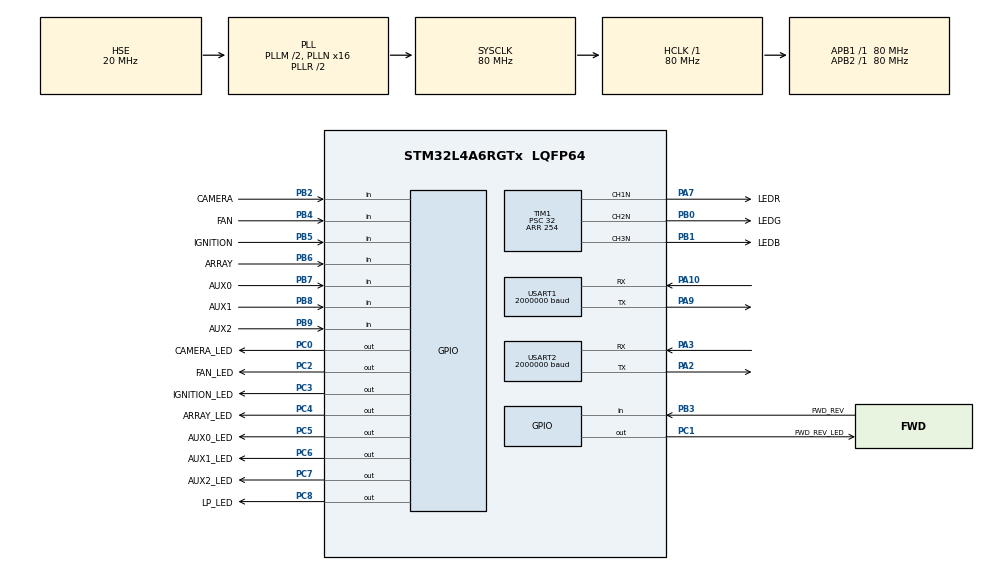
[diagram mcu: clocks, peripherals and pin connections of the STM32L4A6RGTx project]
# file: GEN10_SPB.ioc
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CRC.InputDataInversionMode=CRC_INPUTDATA_INVERSION_BYTE
CRC.OutputDataInversionMode=CRC_OUTPUTDATA_INVERSION_ENABLE
FREERTOS.INCLUDE_eTaskGetState=1
FREERTOS.INCLUDE_pcTaskGetTaskName=1
FREERTOS.INCLUDE_vTaskDelayUntil=1
FREERTOS.INCLUDE_xQueueGetMutexHolder=1
FREERTOS.INCLUDE_xSemaphoreGetMutexHolder=1
FREERTOS.INCLUDE_xTaskAbortDelay=1
FREERTOS.INCLUDE_xTaskGetCurrentTaskHandle=1
FREERTOS.INCLUDE_xTaskGetHandle=1
FREERTOS.Tasks01=defaultTask,0,512,StartDefaultTask,Default,NULL,Dynamic,NULL,NULL
FREERTOS.configGENERATE_RUN_TIME_STATS=1
FREERTOS.configMINIMAL_STACK_SIZE=512
FREERTOS.configQUEUE_REGISTRY_SIZE=32
FREERTOS.configRECORD_STACK_HIGH_ADDRESS=1
FREERTOS.configTIMER_QUEUE_LENGTH=32
FREERTOS.configTIMER_TASK_PRIORITY=5
FREERTOS.configTIMER_TASK_STACK_DEPTH=2048
FREERTOS.configTOTAL_HEAP_SIZE=131072
FREERTOS.configUSE_IDLE_HOOK=1
FREERTOS.configUSE_STATS_FORMATTING_FUNCTIONS=1
FREERTOS.configUSE_TIMERS=1
FREERTOS.configUSE_TRACE_FACILITY=1
Mcu.Family=STM32L4
Mcu.Name=STM32L4A6RGTx
Mcu.Package=LQFP64
NVIC.PriorityGroup=NVIC_PRIORITYGROUP_4
NVIC.TIM6_DAC_IRQn=true\:0\:0\:false\:false\:true\:false\:false\:true
NVIC.TimeBase=TIM6_DAC_IRQn
NVIC.TimeBaseIP=TIM6
NVIC.USART1_IRQn=true\:5\:0\:false\:false\:true\:true\:true\:true
NVIC.USART2_IRQn=true\:5\:0\:false\:false\:true\:true\:true\:true
PA10.Mode=Asynchronous
PA10.Signal=USART1_RX
PA13\ (JTMS/SWDIO).Mode=Serial_Wire
PA13\ (JTMS/SWDIO).Signal=SYS_JTMS-SWDIO
PA14\ (JTCK/SWCLK).Mode=Serial_Wire
PA14\ (JTCK/SWCLK).Signal=SYS_JTCK-SWCLK
PA2.Mode=Asynchronous
PA2.Signal=USART2_TX
PA3.Mode=Asynchronous
PA3.Signal=USART2_RX
PA7.GPIO_Label=LEDR
PA7.GPIO_Speed=GPIO_SPEED_FREQ_VERY_HIGH
PA7.Mode=PWM Generation1 CH1N
PA7.Signal=TIM1_CH1N
PA9.Mode=Asynchronous
PA9.Signal=USART1_TX
PB0.GPIO_Label=LEDG
PB0.GPIO_Speed=GPIO_SPEED_FREQ_VERY_HIGH
PB0.Mode=PWM Generation2 CH2N
PB0.Signal=TIM1_CH2N
PB1.GPIO_Label=LEDB
PB1.GPIO_Speed=GPIO_SPEED_FREQ_VERY_HIGH
PB1.Mode=PWM Generation3 CH3N
PB1.Signal=TIM1_CH3N
PB2.GPIO_Label=CAMERA
PB2.GPIO_PuPd=GPIO_PULLUP
PB2.Signal=GPIO_Input
PB3\ (JTDO/TRACESWO).GPIO_Label=FWD_REV
PB3\ (JTDO/TRACESWO).GPIO_PuPd=GPIO_PULLUP
PB3\ (JTDO/TRACESWO).Signal=GPIO_Input
PB4\ (NJTRST).GPIO_Label=FAN
PB4\ (NJTRST).GPIO_PuPd=GPIO_PULLUP
PB4\ (NJTRST).Signal=GPIO_Input
PB5.GPIO_Label=IGNITION
PB5.GPIO_PuPd=GPIO_PULLUP
PB5.Signal=GPIO_Input
PB6.GPIO_Label=ARRAY
PB6.GPIO_PuPd=GPIO_PULLUP
PB6.Signal=GPIO_Input
PB7.GPIO_Label=AUX0
PB7.GPIO_PuPd=GPIO_PULLUP
PB7.Signal=GPIO_Input
PB8.GPIO_Label=AUX1
PB8.GPIO_PuPd=GPIO_PULLUP
PB8.Signal=GPIO_Input
PB9.GPIO_Label=AUX2
PB9.GPIO_PuPd=GPIO_PULLUP
PB9.Signal=GPIO_Input
PC0.GPIO_Label=CAMERA_LED
PC0.GPIO_Speed=GPIO_SPEED_FREQ_VERY_HIGH
PC0.PinState=GPIO_PIN_SET
PC0.Signal=GPIO_Output
PC1.GPIO_Label=FWD_REV_LED
PC1.GPIO_Speed=GPIO_SPEED_FREQ_VERY_HIGH
PC1.PinState=GPIO_PIN_SET
PC1.Signal=GPIO_Output
PC2.GPIO_Label=FAN_LED
PC2.GPIO_Speed=GPIO_SPEED_FREQ_VERY_HIGH
PC2.PinState=GPIO_PIN_SET
PC2.Signal=GPIO_Output
PC3.GPIO_Label=IGNITION_LED
PC3.GPIO_Speed=GPIO_SPEED_FREQ_VERY_HIGH
PC3.PinState=GPIO_PIN_SET
PC3.Signal=GPIO_Output
PC4.GPIO_Label=ARRAY_LED
PC4.GPIO_Speed=GPIO_SPEED_FREQ_VERY_HIGH
PC4.PinState=GPIO_PIN_SET
PC4.Signal=GPIO_Output
PC5.GPIO_Label=AUX0_LED
PC5.GPIO_Speed=GPIO_SPEED_FREQ_VERY_HIGH
PC5.PinState=GPIO_PIN_SET
PC5.Signal=GPIO_Output
PC6.GPIO_Label=AUX1_LED
PC6.GPIO_Speed=GPIO_SPEED_FREQ_VERY_HIGH
PC6.PinState=GPIO_PIN_SET
PC6.Signal=GPIO_Output
PC7.GPIO_Label=AUX2_LED
PC7.GPIO_Speed=GPIO_SPEED_FREQ_VERY_HIGH
PC7.PinState=GPIO_PIN_SET
PC7.Signal=GPIO_Output
PC8.GPIO_Label=LP_LED
PC8.GPIO_Speed=GPIO_SPEED_FREQ_VERY_HIGH
PC8.PinState=GPIO_PIN_SET
PC8.Signal=GPIO_Output
PH0-OSC_IN\ (PH0).Mode=HSE-External-Oscillator
PH0-OSC_IN\ (PH0).Signal=RCC_OSC_IN
PH1-OSC_OUT\ (PH1).Mode=HSE-External-Oscillator
PH1-OSC_OUT\ (PH1).Signal=RCC_OSC_OUT
ProjectManager.HeapSize=0x200
ProjectManager.StackSize=0x400
ProjectManager.TargetToolchain=STM32CubeIDE
RCC.ADCFreq_Value=40000000
RCC.AHBFreq_Value=80000000
RCC.APB1Freq_Value=80000000
RCC.APB1TimFreq_Value=80000000
RCC.APB2Freq_Value=80000000
RCC.APB2TimFreq_Value=80000000
RCC.CortexFreq_Value=80000000
RCC.HCLKFreq_Value=80000000
RCC.HSE_VALUE=20000000
RCC.HSI48_VALUE=48000000
RCC.HSI_VALUE=16000000
RCC.LSE_VALUE=32768
RCC.MSI_VALUE=4000000
RCC.PLLM=2
RCC.PLLN=16
RCC.PLLSourceVirtual=RCC_PLLSOURCE_HSE
RCC.SYSCLKFreq_VALUE=80000000
RCC.SYSCLKSource=RCC_SYSCLKSOURCE_PLLCLK
RCC.USBFreq_Value=40000000
RCC.VCOOutputFreq_Value=160000000
TIM1.AutoReloadPreload=TIM_AUTORELOAD_PRELOAD_ENABLE
TIM1.Channel-PWM\ Generation1\ CH1N=TIM_CHANNEL_1
TIM1.Channel-PWM\ Generation2\ CH2N=TIM_CHANNEL_2
TIM1.Channel-PWM\ Generation3\ CH3N=TIM_CHANNEL_3
TIM1.OCFastMode_PWM-PWM\ Generation1\ CH1N=TIM_OCFAST_ENABLE
TIM1.OCFastMode_PWM-PWM\ Generation2\ CH2N=TIM_OCFAST_ENABLE
TIM1.OCFastMode_PWM-PWM\ Generation3\ CH3N=TIM_OCFAST_ENABLE
TIM1.OCNIdleState_1=TIM_OCNIDLESTATE_SET
TIM1.OCNIdleState_2=TIM_OCNIDLESTATE_SET
TIM1.OCNIdleState_3=TIM_OCNIDLESTATE_SET
TIM1.OCNPolarity_1=TIM_OCNPOLARITY_LOW
TIM1.OCNPolarity_2=TIM_OCNPOLARITY_LOW
TIM1.OCNPolarity_3=TIM_OCNPOLARITY_LOW
TIM1.Period=254
TIM1.Prescaler=32
TIM1.Pulse-PWM\ Generation1\ CH1N=255
TIM1.Pulse-PWM\ Generation2\ CH2N=0xff
TIM1.Pulse-PWM\ Generation3\ CH3N=0x33
USART1.BaudRate=2000000
USART1.OverSampling=UART_OVERSAMPLING_16
USART1.VirtualMode-Asynchronous=VM_ASYNC
USART2.BaudRate=2000000
USART2.VirtualMode-Asynchronous=VM_ASYNC
VP_CRC_VS_CRC.Mode=CRC_Activate
VP_FREERTOS_VS_CMSIS_V1.Mode=CMSIS_V1
VP_SYS_VS_tim6.Mode=TIM6
board=custom

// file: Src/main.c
/* USER CODE BEGIN Header */
/**
  ******************************************************************************
  * @file           : main.c
  * @brief          : Main program body
  ******************************************************************************
  * @attention
  *
  * <h2><center>&copy; Copyright (c) 2019 STMicroelectronics.
  * All rights reserved.</center></h2>
  *
  * This software component is licensed by ST under BSD 3-Clause license,
  * the "License"; You may not use this file except in compliance with the
  * License. You may obtain a copy of the License at:
  *                        opensource.org/licenses/BSD-3-Clause
  *
  ******************************************************************************
  */
/* USER CODE END Header */

#include "main.h"
#include "cmsis_os.h"

CRC_HandleTypeDef hcrc;

TIM_HandleTypeDef htim1;

UART_HandleTypeDef huart1;
UART_HandleTypeDef huart2;

osThreadId defaultTaskHandle;

void SystemClock_Config(void);
static void MX_GPIO_Init(void);
static void MX_TIM1_Init(void);
static void MX_USART1_UART_Init(void);
static void MX_USART2_UART_Init(void);
static void MX_CRC_Init(void);
void StartDefaultTask(void const * argument);

/* USER CODE BEGIN PFP */
static void switchStateTask(void const*);
static void ledTask(const void*);
/* USER CODE END PFP */

int main(void)
{

  /* MCU Configuration--------------------------------------------------------*/

  /* Reset of all peripherals, Initializes the Flash interface and the Systick. */
  HAL_Init();

  /* Configure the system clock */
  SystemClock_Config();

  /* Initialize all configured peripherals */
  MX_GPIO_Init();
  MX_TIM1_Init();
  MX_USART1_UART_Init();
  MX_USART2_UART_Init();
  MX_CRC_Init();

  /* USER CODE BEGIN RTOS_QUEUES */
  /* add queues, ... */
#ifdef ENABLE_CUBEMX_DEFAULT_TASK
  /* USER CODE END RTOS_QUEUES */

  /* Create the thread(s) */
  /* definition and creation of defaultTask */
  osThreadDef(defaultTask, StartDefaultTask, osPriorityNormal, 0, 512);
  defaultTaskHandle = osThreadCreate(osThread(defaultTask), NULL);

  /* USER CODE BEGIN RTOS_THREADS */
  /* add threads, ... */
#endif
  xTaskCreate(switchStateTask, "swStateTask", 512, NULL, 3, NULL);
  xTaskCreate(ledTask, "ledTask", 512, NULL, 2, NULL);
  /* USER CODE END RTOS_THREADS */

  /* Start scheduler */
  osKernelStart();

  /* We should never get here as control is now taken by the scheduler */

  /* Infinite loop */
  while (1)
  {

  }
}

void SystemClock_Config(void)
{
  RCC_OscInitTypeDef RCC_OscInitStruct = {0};
  RCC_ClkInitTypeDef RCC_ClkInitStruct = {0};
  RCC_PeriphCLKInitTypeDef PeriphClkInit = {0};

  /** Initializes the CPU, AHB and APB busses clocks
  */
  RCC_OscInitStruct.OscillatorType = RCC_OSCILLATORTYPE_HSE;
  RCC_OscInitStruct.HSEState = RCC_HSE_ON;
  RCC_OscInitStruct.PLL.PLLState = RCC_PLL_ON;
  RCC_OscInitStruct.PLL.PLLSource = RCC_PLLSOURCE_HSE;
  RCC_OscInitStruct.PLL.PLLM = 2;
  RCC_OscInitStruct.PLL.PLLN = 16;
  RCC_OscInitStruct.PLL.PLLP = RCC_PLLP_DIV2;
  RCC_OscInitStruct.PLL.PLLQ = RCC_PLLQ_DIV2;
  RCC_OscInitStruct.PLL.PLLR = RCC_PLLR_DIV2;
  if (HAL_RCC_OscConfig(&RCC_OscInitStruct) != HAL_OK)
  {
    Error_Handler();
  }
  /** Initializes the CPU, AHB and APB busses clocks
  */
  RCC_ClkInitStruct.ClockType = RCC_CLOCKTYPE_HCLK|RCC_CLOCKTYPE_SYSCLK
                              |RCC_CLOCKTYPE_PCLK1|RCC_CLOCKTYPE_PCLK2;
  RCC_ClkInitStruct.SYSCLKSource = RCC_SYSCLKSOURCE_PLLCLK;
  RCC_ClkInitStruct.AHBCLKDivider = RCC_SYSCLK_DIV1;
  RCC_ClkInitStruct.APB1CLKDivider = RCC_HCLK_DIV1;
  RCC_ClkInitStruct.APB2CLKDivider = RCC_HCLK_DIV1;

  if (HAL_RCC_ClockConfig(&RCC_ClkInitStruct, FLASH_LATENCY_4) != HAL_OK)
  {
    Error_Handler();
  }
  PeriphClkInit.PeriphClockSelection = RCC_PERIPHCLK_USART1|RCC_PERIPHCLK_USART2;
  PeriphClkInit.Usart1ClockSelection = RCC_USART1CLKSOURCE_PCLK2;
  PeriphClkInit.Usart2ClockSelection = RCC_USART2CLKSOURCE_PCLK1;
  if (HAL_RCCEx_PeriphCLKConfig(&PeriphClkInit) != HAL_OK)
  {
    Error_Handler();
  }
  /** Configure the main internal regulator output voltage
  */
  if (HAL_PWREx_ControlVoltageScaling(PWR_REGULATOR_VOLTAGE_SCALE1) != HAL_OK)
  {
    Error_Handler();
  }
}

static void MX_CRC_Init(void)
{

  hcrc.Instance = CRC;
  hcrc.Init.DefaultPolynomialUse = DEFAULT_POLYNOMIAL_ENABLE;
  hcrc.Init.DefaultInitValueUse = DEFAULT_INIT_VALUE_ENABLE;
  hcrc.Init.InputDataInversionMode = CRC_INPUTDATA_INVERSION_BYTE;
  hcrc.Init.OutputDataInversionMode = CRC_OUTPUTDATA_INVERSION_ENABLE;
  hcrc.InputDataFormat = CRC_INPUTDATA_FORMAT_BYTES;
  if (HAL_CRC_Init(&hcrc) != HAL_OK)
  {
    Error_Handler();
  }

}

static void MX_TIM1_Init(void)
{

  TIM_MasterConfigTypeDef sMasterConfig = {0};
  TIM_OC_InitTypeDef sConfigOC = {0};
  TIM_BreakDeadTimeConfigTypeDef sBreakDeadTimeConfig = {0};

  htim1.Instance = TIM1;
  htim1.Init.Prescaler = 32;
  htim1.Init.CounterMode = TIM_COUNTERMODE_UP;
  htim1.Init.Period = 254;
  htim1.Init.ClockDivision = TIM_CLOCKDIVISION_DIV1;
  htim1.Init.RepetitionCounter = 0;
  htim1.Init.AutoReloadPreload = TIM_AUTORELOAD_PRELOAD_ENABLE;
  if (HAL_TIM_PWM_Init(&htim1) != HAL_OK)
  {
    Error_Handler();
  }
  sMasterConfig.MasterOutputTrigger = TIM_TRGO_RESET;
  sMasterConfig.MasterOutputTrigger2 = TIM_TRGO2_RESET;
  sMasterConfig.MasterSlaveMode = TIM_MASTERSLAVEMODE_DISABLE;
  if (HAL_TIMEx_MasterConfigSynchronization(&htim1, &sMasterConfig) != HAL_OK)
  {
    Error_Handler();
  }
  sConfigOC.OCMode = TIM_OCMODE_PWM1;
  sConfigOC.Pulse = 255;
  sConfigOC.OCPolarity = TIM_OCPOLARITY_HIGH;
  sConfigOC.OCNPolarity = TIM_OCNPOLARITY_LOW;
  sConfigOC.OCFastMode = TIM_OCFAST_ENABLE;
  sConfigOC.OCIdleState = TIM_OCIDLESTATE_RESET;
  sConfigOC.OCNIdleState = TIM_OCNIDLESTATE_SET;
  if (HAL_TIM_PWM_ConfigChannel(&htim1, &sConfigOC, TIM_CHANNEL_1) != HAL_OK)
  {
    Error_Handler();
  }
  sConfigOC.Pulse = 0xff;
  if (HAL_TIM_PWM_ConfigChannel(&htim1, &sConfigOC, TIM_CHANNEL_2) != HAL_OK)
  {
    Error_Handler();
  }
  sConfigOC.Pulse = 0x33;
  if (HAL_TIM_PWM_ConfigChannel(&htim1, &sConfigOC, TIM_CHANNEL_3) != HAL_OK)
  {
    Error_Handler();
  }
  sBreakDeadTimeConfig.OffStateRunMode = TIM_OSSR_DISABLE;
  sBreakDeadTimeConfig.OffStateIDLEMode = TIM_OSSI_DISABLE;
  sBreakDeadTimeConfig.LockLevel = TIM_LOCKLEVEL_OFF;
  sBreakDeadTimeConfig.DeadTime = 0;
  sBreakDeadTimeConfig.BreakState = TIM_BREAK_DISABLE;
  sBreakDeadTimeConfig.BreakPolarity = TIM_BREAKPOLARITY_HIGH;
  sBreakDeadTimeConfig.BreakFilter = 0;
  sBreakDeadTimeConfig.Break2State = TIM_BREAK2_DISABLE;
  sBreakDeadTimeConfig.Break2Polarity = TIM_BREAK2POLARITY_HIGH;
  sBreakDeadTimeConfig.Break2Filter = 0;
  sBreakDeadTimeConfig.AutomaticOutput = TIM_AUTOMATICOUTPUT_DISABLE;
  if (HAL_TIMEx_ConfigBreakDeadTime(&htim1, &sBreakDeadTimeConfig) != HAL_OK)
  {
    Error_Handler();
  }
  HAL_TIM_MspPostInit(&htim1);

}

static void MX_USART1_UART_Init(void)
{

  huart1.Instance = USART1;
  huart1.Init.BaudRate = 2000000;
  huart1.Init.WordLength = UART_WORDLENGTH_8B;
  huart1.Init.StopBits = UART_STOPBITS_1;
  huart1.Init.Parity = UART_PARITY_NONE;
  huart1.Init.Mode = UART_MODE_TX_RX;
  huart1.Init.HwFlowCtl = UART_HWCONTROL_NONE;
  huart1.Init.OverSampling = UART_OVERSAMPLING_16;
  huart1.Init.OneBitSampling = UART_ONE_BIT_SAMPLE_DISABLE;
  huart1.AdvancedInit.AdvFeatureInit = UART_ADVFEATURE_NO_INIT;
  if (HAL_UART_Init(&huart1) != HAL_OK)
  {
    Error_Handler();
  }

}

static void MX_USART2_UART_Init(void)
{

  huart2.Instance = USART2;
  huart2.Init.BaudRate = 2000000;
  huart2.Init.WordLength = UART_WORDLENGTH_8B;
  huart2.Init.StopBits = UART_STOPBITS_1;
  huart2.Init.Parity = UART_PARITY_NONE;
  huart2.Init.Mode = UART_MODE_TX_RX;
  huart2.Init.HwFlowCtl = UART_HWCONTROL_NONE;
  huart2.Init.OverSampling = UART_OVERSAMPLING_16;
  huart2.Init.OneBitSampling = UART_ONE_BIT_SAMPLE_DISABLE;
  huart2.AdvancedInit.AdvFeatureInit = UART_ADVFEATURE_NO_INIT;
  if (HAL_UART_Init(&huart2) != HAL_OK)
  {
    Error_Handler();
  }

}

static void MX_GPIO_Init(void)
{
  GPIO_InitTypeDef GPIO_InitStruct = {0};

  /* GPIO Ports Clock Enable */
  __HAL_RCC_GPIOH_CLK_ENABLE();
  __HAL_RCC_GPIOC_CLK_ENABLE();
  __HAL_RCC_GPIOA_CLK_ENABLE();
  __HAL_RCC_GPIOB_CLK_ENABLE();

  /*Configure GPIO pin Output Level */
  HAL_GPIO_WritePin(GPIOC, CAMERA_LED_Pin|FWD_REV_LED_Pin|FAN_LED_Pin|IGNITION_LED_Pin
                          |ARRAY_LED_Pin|AUX0_LED_Pin|AUX1_LED_Pin|AUX2_LED_Pin
                          |LP_LED_Pin, GPIO_PIN_SET);

  /*Configure GPIO pins : CAMERA_LED_Pin FWD_REV_LED_Pin FAN_LED_Pin IGNITION_LED_Pin
                           ARRAY_LED_Pin AUX0_LED_Pin AUX1_LED_Pin AUX2_LED_Pin
                           LP_LED_Pin */
  GPIO_InitStruct.Pin = CAMERA_LED_Pin|FWD_REV_LED_Pin|FAN_LED_Pin|IGNITION_LED_Pin
                          |ARRAY_LED_Pin|AUX0_LED_Pin|AUX1_LED_Pin|AUX2_LED_Pin
                          |LP_LED_Pin;
  GPIO_InitStruct.Mode = GPIO_MODE_OUTPUT_PP;
  GPIO_InitStruct.Pull = GPIO_NOPULL;
  GPIO_InitStruct.Speed = GPIO_SPEED_FREQ_VERY_HIGH;
  HAL_GPIO_Init(GPIOC, &GPIO_InitStruct);

  /*Configure GPIO pins : CAMERA_Pin FWD_REV_Pin FAN_Pin IGNITION_Pin
                           ARRAY_Pin AUX0_Pin AUX1_Pin AUX2_Pin */
  GPIO_InitStruct.Pin = CAMERA_Pin|FWD_REV_Pin|FAN_Pin|IGNITION_Pin
                          |ARRAY_Pin|AUX0_Pin|AUX1_Pin|AUX2_Pin;
  GPIO_InitStruct.Mode = GPIO_MODE_INPUT;
  GPIO_InitStruct.Pull = GPIO_PULLUP;
  HAL_GPIO_Init(GPIOB, &GPIO_InitStruct);

}

/* USER CODE BEGIN 4 */
static void switchStateTask(void const* pv){
	GPIO_TypeDef* swPort = CAMERA_GPIO_Port;
	#define uartFrame_SIZE 7
	uint8_t uartFrame[uartFrame_SIZE] = {0xa5, 0x04, 0x00, 0x00, 0x00, 0x00, 0x00};

	for(;;){
		uartFrame[2] = (swPort->IDR >> 2) & 0xff;
		uint32_t crc = ~HAL_CRC_Calculate(&hcrc, uartFrame, uartFrame_SIZE-4);
		for(size_t i=0; i<4; i++) uartFrame[i+3] = (crc >> (i << 3)) & 0xff;
		HAL_UART_Transmit_IT(&huart2, uartFrame, uartFrame_SIZE);
		HAL_UART_Transmit_IT(&huart1, uartFrame, uartFrame_SIZE);
		osDelay(1000);
	}
}

static void ledTask(const void* pv){
	htim1.Instance->CCER = 0x444;
	HAL_TIM_PWM_Start(&htim1, TIM_CHANNEL_1);
	HAL_TIM_PWM_Start(&htim1, TIM_CHANNEL_2);
	HAL_TIM_PWM_Start(&htim1, TIM_CHANNEL_3);

	uint32_t gpio_en = 0x001;

	for(;;){
		HAL_GPIO_WritePin(CAMERA_LED_GPIO_Port, gpio_en, 1);
		gpio_en <<= 1;
		gpio_en = gpio_en > 0x100 ? 0x001 : gpio_en;
		HAL_GPIO_WritePin(CAMERA_LED_GPIO_Port, gpio_en, 0);

		osDelay(1);
	}
}
/* USER CODE END 4 */

void StartDefaultTask(void const * argument)
{

  /* USER CODE BEGIN 5 */
	for(;;){
		osDelay(portMAX_DELAY);
	}
  /* USER CODE END 5 */
}

void HAL_TIM_PeriodElapsedCallback(TIM_HandleTypeDef *htim)
{
  if (htim->Instance == TIM6) {
    HAL_IncTick();
  }
}

void Error_Handler(void)
{
}

/************************ (C) COPYRIGHT STMicroelectronics *****END OF FILE****/

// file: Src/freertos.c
/* USER CODE BEGIN Header */
/**
  ******************************************************************************
  * File Name          : freertos.c
  * Description        : Code for freertos applications
  ******************************************************************************
  * @attention
  *
  * <h2><center>&copy; Copyright (c) 2019 STMicroelectronics.
  * All rights reserved.</center></h2>
  *
  * This software component is licensed by ST under Ultimate Liberty license
  * SLA0044, the "License"; You may not use this file except in compliance with
  * the License. You may obtain a copy of the License at:
  *                             www.st.com/SLA0044
  *
  ******************************************************************************
  */
/* USER CODE END Header */

#include "FreeRTOS.h"
#include "task.h"
#include "main.h"

/* Hook prototypes */
void configureTimerForRunTimeStats(void);
unsigned long getRunTimeCounterValue(void);
void vApplicationIdleHook(void);

/* USER CODE BEGIN 1 */
/* Functions needed when configGENERATE_RUN_TIME_STATS is on */
__weak void configureTimerForRunTimeStats(void)
{

}

__weak unsigned long getRunTimeCounterValue(void)
{
return 0;
}
/* USER CODE END 1 */

/* USER CODE BEGIN 2 */
__weak void vApplicationIdleHook( void )
{
   /* vApplicationIdleHook() will only be called if configUSE_IDLE_HOOK is set
   to 1 in FreeRTOSConfig.h. It will be called on each iteration of the idle
   task. It is essential that code added to this hook function never attempts
   to block in any way (for example, call xQueueReceive() with a block time
   specified, or call vTaskDelay()). If the application makes use of the
   vTaskDelete() API function (as this demo application does) then it is also
   important that vApplicationIdleHook() is permitted to return to its calling
   function, because it is the responsibility of the idle task to clean up
   memory allocated by the kernel to any task that has since been deleted. */
}
/* USER CODE END 2 */

/************************ (C) COPYRIGHT STMicroelectronics *****END OF FILE****/
